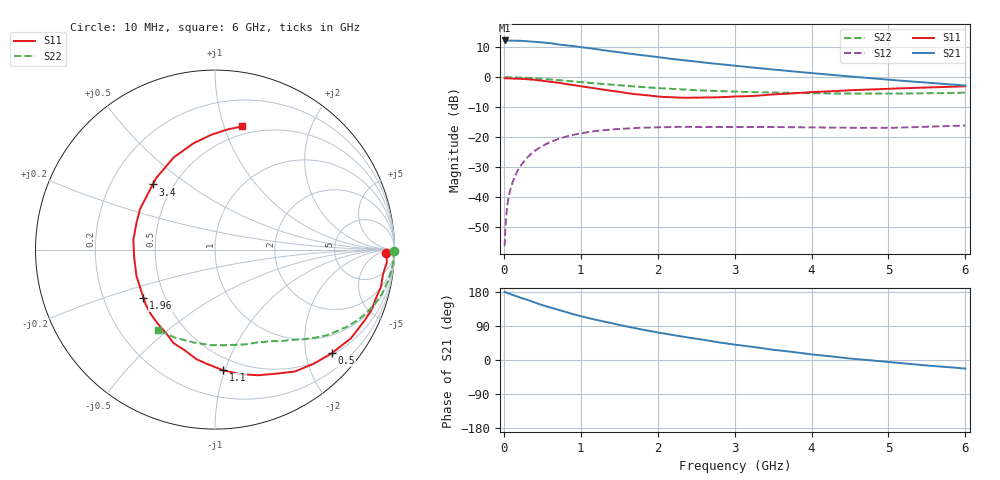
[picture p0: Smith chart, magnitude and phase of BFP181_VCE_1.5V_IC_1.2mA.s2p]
! Infineon Technologies  Discrete & RF Semiconductors
! BFP181
! VCE = 1.5 V,  IC =  1.2 mA
! Common Emitter S-Parameters:  Jan 2016
# GHz  S  MA  R  50
!  f  S11  S21  S12  S22
! GHz  MAG  ANG  MAG  ANG  MAG  ANG  MAG  ANG
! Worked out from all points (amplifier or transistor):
!   210 points, 10 MHz to 6 GHz, reference 50 ohm
!   highest |S21| = 12.3 dB at 10 MHz (marker M1)
!   |S21| within 3 dB of that: start of sweep to 1.227 GHz
!   unconditionally stable (mu >= 1): 2.826 GHz to end of sweep
!   at 185 MHz: K = 0.09, MSG = 21.6 dB, |S12| = -31.0 dB
!   at 1.52 GHz: K = 0.58, MSG = 12.8 dB, |S12| = -17.3 dB
!   at 6 GHz: K = 1.28, MAG = 3.5 dB, |S12| = -16.2 dB
!   S11 on the Smith chart (normalised r, x): 10 MHz: 38, -15; 500 MHz: 0.54, -2.54; 1.1 GHz: 0.40, -0.99; 1.96 GHz: 0.38, -0.27; 3.4 GHz: 0.38, +0.37; 6 GHz: 0.42, +1.15
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0.01  0.9553 -1.0  4.098 179.6  0.0015 82.8  0.9989 -0.3
0.02  0.956 -1.6  4.078 179.2  0.003 85.6  0.9981 -0.8
0.03  0.9572 -2.5  4.082 178.3  0.0047 88.0  0.9974 -1.2
0.05  0.9603 -4.2  4.092 176.4  0.0081 89.7  0.9961 -2.0
0.12  0.946 -10.2  4.059 171.5  0.0184 82.6  0.9933 -4.8
0.2  0.9366 -16.8  4.063 165.6  0.0305 78.9  0.9876 -7.8
0.3  0.9229 -25.2  3.982 159.2  0.0448 74.1  0.9742 -11.7
0.4  0.9043 -33.1  3.903 151.6  0.0584 68.6  0.9603 -15.3
0.5  0.8701 -41.5  3.801 144.8  0.0705 63.4  0.94 -18.8
0.6  0.841 -49.1  3.706 138.6  0.082 58.8  0.9184 -22.1
0.8  0.7696 -64.0  3.428 126.6  0.1008 50.2  0.8732 -27.8
1.02  0.6995 -80.3  3.146 114.7  0.1162 42.1  0.8216 -33.3
1.1  0.6744 -86.0  3.069 110.5  0.1209 39.6  0.8048 -35.1
1.5  0.5699 -113.9  2.609 92.4  0.1363 28.3  0.7277 -42.6
1.96  0.4811 -145.9  2.199 74.2  0.1449 19.4  0.6613 -49.5
2.02  0.4729 -149.9  2.147 72.0  0.1455 18.7  0.6546 -50.3
2.4  0.4524 -175.1  1.886 59.1  0.1478 12.9  0.6162 -55.9
3.1  0.4771 147.0  1.508 38.2  0.1467 6.2  0.5665 -66.1
3.4  0.5017 133.7  1.378 30.0  0.1467 4.4  0.5563 -70.9
4.1  0.5688 111.4  1.139 12.8  0.1441 1.5  0.5357 -84.0
5.1  0.6458 90.2  0.885 -7.2  0.1431 1.1  0.5308 -105.2
6  0.7031 77.6  0.723 -22.6  0.1557 2.2  0.5506 -125.1
